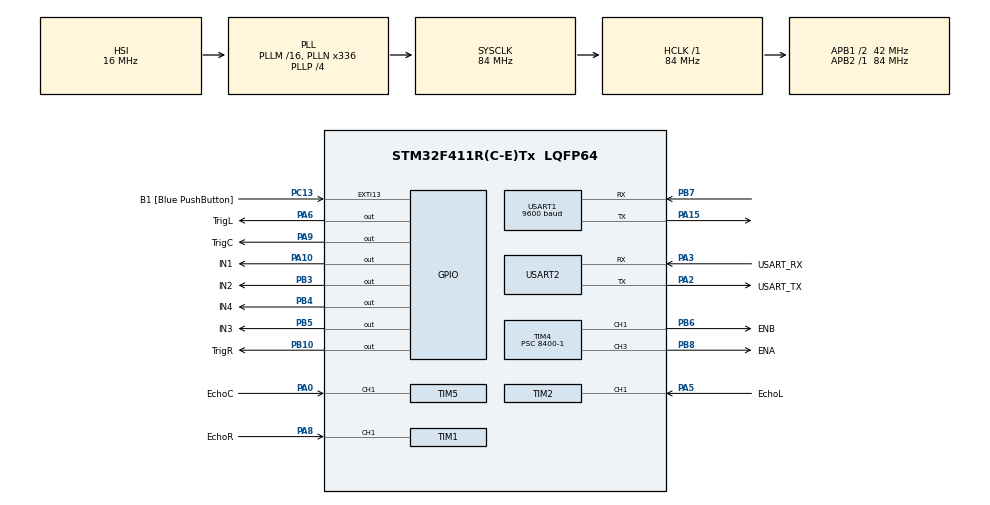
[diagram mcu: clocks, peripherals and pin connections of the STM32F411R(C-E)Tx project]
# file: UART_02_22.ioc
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FREERTOS.Tasks01=changeMode,24,128,changeModefunc,Default,NULL,Dynamic,NULL,NULL;trigUltrasonic,8,128,trigUltrasonicfunc,Default,NULL,Dynamic,NULL,NULL
FREERTOS.configUSE_NEWLIB_REENTRANT=1
Mcu.Family=STM32F4
Mcu.Name=STM32F411R(C-E)Tx
Mcu.Package=LQFP64
NVIC.PriorityGroup=NVIC_PRIORITYGROUP_4
NVIC.TIM1_BRK_TIM9_IRQn=true\:15\:0\:false\:false\:true\:false\:false\:true\:true
NVIC.TIM1_CC_IRQn=true\:5\:0\:false\:false\:true\:true\:true\:true\:true
NVIC.TIM2_IRQn=true\:5\:0\:false\:false\:true\:true\:true\:true\:true
NVIC.TIM5_IRQn=true\:5\:0\:false\:false\:true\:true\:true\:true\:true
NVIC.TimeBase=TIM1_BRK_TIM9_IRQn
NVIC.TimeBaseIP=TIM9
NVIC.USART1_IRQn=true\:5\:0\:false\:false\:true\:true\:true\:true\:true
NVIC.USART2_IRQn=true\:5\:0\:false\:false\:true\:true\:true\:true\:true
PA0-WKUP.GPIO_Label=EchoC
PA0-WKUP.Signal=S_TIM5_CH1
PA10.GPIO_Label=IN1
PA10.Signal=GPIO_Output
PA13.GPIO_Label=TMS
PA13.Mode=Serial_Wire
PA13.Signal=SYS_JTMS-SWDIO
PA14.GPIO_Label=TCK
PA14.Mode=Serial_Wire
PA14.Signal=SYS_JTCK-SWCLK
PA15.Mode=Asynchronous
PA15.Signal=USART1_TX
PA2.GPIO_Label=USART_TX
PA2.Mode=Asynchronous
PA2.Signal=USART2_TX
PA3.GPIO_Label=USART_RX
PA3.Mode=Asynchronous
PA3.Signal=USART2_RX
PA5.GPIO_Label=EchoL
PA5.Signal=S_TIM2_CH1_ETR
PA6.GPIO_Label=TrigL
PA6.Signal=GPIO_Output
PA8.GPIO_Label=EchoR
PA8.Signal=S_TIM1_CH1
PA9.GPIO_Label=TrigC
PA9.Signal=GPIO_Output
PB10.GPIO_Label=TrigR
PB10.Signal=GPIO_Output
PB3.GPIO_Label=IN2
PB3.Signal=GPIO_Output
PB4.GPIO_Label=IN4
PB4.Signal=GPIO_Output
PB5.GPIO_Label=IN3
PB5.Signal=GPIO_Output
PB6.GPIO_Label=ENB
PB6.Signal=S_TIM4_CH1
PB7.Mode=Asynchronous
PB7.Signal=USART1_RX
PB8.GPIO_Label=ENA
PB8.Signal=S_TIM4_CH3
PC13-ANTI_TAMP.GPIO_Label=B1 [Blue PushButton]
PC13-ANTI_TAMP.GPIO_ModeDefaultEXTI=GPIO_MODE_IT_FALLING
PC13-ANTI_TAMP.Signal=GPXTI13
PC14-OSC32_IN.Mode=LSE-External-Oscillator
PC14-OSC32_IN.Signal=RCC_OSC32_IN
PC15-OSC32_OUT.Mode=LSE-External-Oscillator
PC15-OSC32_OUT.Signal=RCC_OSC32_OUT
PH0\ -\ OSC_IN.Mode=HSE-External-Clock-Source
PH0\ -\ OSC_IN.Signal=RCC_OSC_IN
PH1\ -\ OSC_OUT.Mode=HSE-External-Clock-Source
PH1\ -\ OSC_OUT.Signal=RCC_OSC_OUT
ProjectManager.HeapSize=0x200
ProjectManager.StackSize=0x400
ProjectManager.TargetToolchain=STM32CubeIDE
RCC.48MHZClocksFreq_Value=84000000
RCC.AHBFreq_Value=84000000
RCC.APB1CLKDivider=RCC_HCLK_DIV2
RCC.APB1Freq_Value=42000000
RCC.APB1TimFreq_Value=84000000
RCC.APB2Freq_Value=84000000
RCC.APB2TimFreq_Value=84000000
RCC.CortexFreq_Value=84000000
RCC.FLatency-AdvancedSettings=FLASH_LATENCY_2
RCC.HCLKFreq_Value=84000000
RCC.HSE_VALUE=8000000
RCC.HSI_VALUE=16000000
RCC.PLLN=336
RCC.PLLP=RCC_PLLP_DIV4
RCC.SYSCLKFreq_VALUE=84000000
RCC.SYSCLKSource=RCC_SYSCLKSOURCE_PLLCLK
RCC.VCOOutputFreq_Value=336000000
SH.S_TIM1_CH1.0=TIM1_CH1,Input_Capture1_from_TI1
SH.S_TIM2_CH1_ETR.0=TIM2_CH1,Input_Capture1_from_TI1
SH.S_TIM4_CH1.0=TIM4_CH1,PWM Generation1 CH1
SH.S_TIM4_CH3.0=TIM4_CH3,PWM Generation3 CH3
SH.S_TIM5_CH1.0=TIM5_CH1,Input_Capture1_from_TI1
TIM1.Channel-Input_Capture1_from_TI1=TIM_CHANNEL_1
TIM1.ICFilter_CH1=15
TIM1.Period=0xffff-1
TIM1.Prescaler=84-1
TIM2.Channel-Input_Capture1_from_TI1=TIM_CHANNEL_1
TIM2.ICFilter_CH1=15
TIM2.Period=0xffff-1
TIM2.Prescaler=84-1
TIM4.Channel-PWM\ Generation1\ CH1=TIM_CHANNEL_1
TIM4.Channel-PWM\ Generation3\ CH3=TIM_CHANNEL_3
TIM4.Period=1000-1
TIM4.Prescaler=8400-1
TIM5.Channel-Input_Capture1_from_TI1=TIM_CHANNEL_1
TIM5.ICFilter_CH1=15
TIM5.Period=0xffff-1
TIM5.Prescaler=84-1
USART1.BaudRate=9600
USART1.VirtualMode=VM_ASYNC
USART2.VirtualMode=VM_ASYNC
VP_FREERTOS_VS_CMSIS_V2.Mode=CMSIS_V2
VP_SYS_VS_tim9.Mode=TIM9
VP_TIM1_VS_ClockSourceINT.Mode=Internal
board=NUCLEO-F411RE

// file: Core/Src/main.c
/* USER CODE BEGIN Header */
/**
  ******************************************************************************
  * @file           : main.c
  * @brief          : Main program body
  ******************************************************************************
  * @attention
  *
  * Copyright (c) 2024 STMicroelectronics.
  * All rights reserved.
  *
  * This software is licensed under terms that can be found in the LICENSE file
  * in the root directory of this software component.
  * If no LICENSE file comes with this software, it is provided AS-IS.
  *
  ******************************************************************************
  */
/* USER CODE END Header */
#include "main.h"
#include "cmsis_os.h"
#include "tim.h"
#include "usart.h"
#include "gpio.h"

/* USER CODE BEGIN Includes */
#include <string.h>

/* USER CODE END Includes */

/* USER CODE BEGIN PD */

#define BT
#define RX_BUF_SIZE	100

/* USER CODE END PD */

/* USER CODE BEGIN PV */

uint8_t rx_Data[1];
uint8_t state = 0;
uint8_t flag = 0;
int PWM = 300;

#define ARRAYNUM 5
//int readings_front[ARRAYNUM];      // the readings_front from the analog input
//int idx_front = 0;              // the index of the current reading
//int total_front = 0;                  // the running total_front
//int average_front = 0;

int readings_left[ARRAYNUM];      // the readings from the analog input
int idx_left = 0;              // the index of the current reading
int total_left = 0;                  // the running total
int average_left = 0;

int readings_right[ARRAYNUM];      // the readings from the analog input
int idx_right = 0;              // the index of the current reading
int total_right = 0;                  // the running total
int average_right = 0;

//volatile uint32_t INC_Value1 = 0;
//volatile uint32_t INC_Value2 = 0;
//volatile uint32_t echoTime_front = 0;
//volatile uint8_t captureFlag1 = 0;
//volatile uint32_t distance_front = 0;

volatile uint32_t INC_Value3 = 0;
volatile uint32_t INC_Value4 = 0;
volatile uint32_t echoTime_left = 0;
volatile uint8_t captureFlag2 = 0;
volatile uint32_t distance_left = 0;

volatile uint32_t INC_Value5 = 0;
volatile uint32_t INC_Value6 = 0;
volatile uint32_t echoTime_right = 0;
volatile uint8_t captureFlag3 = 0;
volatile uint32_t distance_right = 0;
//////////////////////////////////////////////////////// 코드 추�?1
/* USER CODE END PV */

void SystemClock_Config(void);
void MX_FREERTOS_Init(void);
/* USER CODE BEGIN PFP */

void delay_us(uint16_t us)
{
	__HAL_TIM_SET_COUNTER(&htim1, 0);

	while((__HAL_TIM_GET_COUNTER(&htim1)) < us);
}

void HAL_TIM_IC_CaptureCallback(TIM_HandleTypeDef *htim)
{
//	if(htim->Instance == TIM5)
//	{
//		if(captureFlag1 == 0)	// first value is not capture
//		{
//			INC_Value1 = HAL_TIM_ReadCapturedValue(htim, TIM_CHANNEL_1);	// read first value
//			captureFlag1 = 1;	// first captured as true
//
//			// change polarity rising edge to falling edge
//			__HAL_TIM_SET_CAPTUREPOLARITY(htim, TIM_CHANNEL_1, TIM_INPUTCHANNELPOLARITY_FALLING);
//		}
//		else if(captureFlag1 == 1)	// if first value already captured
//		{
//			INC_Value2 = HAL_TIM_ReadCapturedValue(htim, TIM_CHANNEL_1);
//
//			if(INC_Value2 > INC_Value1)
//			{
//				echoTime_front = INC_Value2 - INC_Value1;
//			}
//			else if(INC_Value2 < INC_Value1)
//			{
//				echoTime_front = (0xffff - INC_Value1) + INC_Value2;
//			}
//
//			distance_front = echoTime_front / 58;
//			captureFlag1 = 0;
//
//			 total_front = total_front - readings_front[idx_front];
//				  // read from the sensor:
//				  readings_front[idx_front] = distance_front;
//				  // add the reading to the total_front:
//				  total_front = total_front + readings_front[idx_front];
//				  // advance to the next position in the array:
//				  idx_front = idx_front + 1;
//
//				  // if we're at the end of the array...
//				  if (idx_front >= ARRAYNUM) {
//					  // ...wrap around to the beginning:
//					  idx_front = 0;
//				  }
//				  // calculate the average_front:
//				  average_front = total_front / ARRAYNUM;
//
//			__HAL_TIM_SET_CAPTUREPOLARITY(htim, TIM_CHANNEL_1, TIM_INPUTCHANNELPOLARITY_RISING);
//			__HAL_TIM_DISABLE_IT(&htim5, TIM_IT_CC1);
//		}
//	}
	if(htim->Instance == TIM2)
	{
		if(captureFlag2 == 0)	// first value is not capture
		{
			INC_Value3 = HAL_TIM_ReadCapturedValue(htim, TIM_CHANNEL_1);	// read first value
			captureFlag2 = 1;	// first captured as true

			// change polarity rising edge to falling edge
			__HAL_TIM_SET_CAPTUREPOLARITY(htim, TIM_CHANNEL_1, TIM_INPUTCHANNELPOLARITY_FALLING);
		}
		else if(captureFlag2 == 1)	// if first value already captured
		{
			INC_Value4 = HAL_TIM_ReadCapturedValue(htim, TIM_CHANNEL_1);

			if(INC_Value4  > INC_Value3)
			{
				echoTime_left = INC_Value4 - INC_Value3;
			}
			else if(INC_Value4 < INC_Value3)
			{
				echoTime_left = (0xffff - INC_Value3) + INC_Value4;
			}

			distance_left = echoTime_left / 58;
			captureFlag2 = 0;

			total_left = total_left - readings_left[idx_left];
				  // read from the sensor:
				  readings_left[idx_left] = distance_left;
				  // add the reading to the total:
				  total_left = total_left + readings_left[idx_left];
				  // advance to the next position in the array:
				  idx_left = idx_left + 1;

				  // if we're at the end of the array...
				  if (idx_left >= ARRAYNUM) {
					  // ...wrap around to the beginning:
					  idx_left = 0;
				  }
				  // calculate the average:
				  average_left = total_left / ARRAYNUM;

			__HAL_TIM_SET_CAPTUREPOLARITY(htim, TIM_CHANNEL_1, TIM_INPUTCHANNELPOLARITY_RISING);
			__HAL_TIM_DISABLE_IT(&htim2, TIM_IT_CC1);
		}
	}
	else if(htim->Instance == TIM1)
	{
		if(captureFlag3 == 0)	// first value is not capture
		{
			INC_Value5 = HAL_TIM_ReadCapturedValue(htim, TIM_CHANNEL_1);	// read first value
			captureFlag3 = 1;	// first captured as true

			// change polarity rising edge to falling edge
			__HAL_TIM_SET_CAPTUREPOLARITY(htim, TIM_CHANNEL_1, TIM_INPUTCHANNELPOLARITY_FALLING);
		}
		else if(captureFlag3 == 1)	// if first value already captured
		{
			INC_Value6 = HAL_TIM_ReadCapturedValue(htim, TIM_CHANNEL_1);

			if(INC_Value6 > INC_Value5)
			{
				echoTime_right = INC_Value6 - INC_Value5;
			}
			else if(INC_Value6 < INC_Value5)
			{
				echoTime_right = (0xffff - INC_Value5) + INC_Value6;
			}

			distance_right = echoTime_right / 58;
			captureFlag3 = 0;

			 total_right = total_right - readings_right[idx_right];
				  // read from the sensor:
				  readings_right[idx_right] = distance_right;
				  // add the reading to the total:
				  total_right = total_right + readings_right[idx_right];
				  // advance to the next position in the array:
				  idx_right = idx_right + 1;

				  // if we're at the end of the array...
				  if (idx_right >= ARRAYNUM) {
					  // ...wrap around to the beginning:
					  idx_right = 0;
				  }
				  // calculate the average:
				  average_right = total_right / ARRAYNUM;

			__HAL_TIM_SET_CAPTUREPOLARITY(htim, TIM_CHANNEL_1, TIM_INPUTCHANNELPOLARITY_RISING);
			__HAL_TIM_DISABLE_IT(&htim1, TIM_IT_CC1);
		}
	}
//	if(average_front < 10)
//	{
//		stop();
//		return;
//	}
	if(average_left < 30){
		right();
		return;
	}
	if(average_right < 30){
		left();
		return;
	}
	go();
}

void Trig1(void)
{
	HAL_GPIO_WritePin(TrigL_GPIO_Port, TrigL_Pin, 1);	// Trig Pin High
	delay_us(10);								// delay 10us
	HAL_GPIO_WritePin(TrigL_GPIO_Port, TrigL_Pin, 0);	// Trig Pin Low

	__HAL_TIM_ENABLE_IT(&htim2, TIM_IT_CC1);	// SET Timer Enable
}

//void Trig2(void)
//{
//	HAL_GPIO_WritePin(TrigC_GPIO_Port, TrigC_Pin, 1);	// Trig Pin High
//	delay_us(10);								// delay 10us
//	HAL_GPIO_WritePin(TrigC_GPIO_Port, TrigC_Pin, 0);	// Trig Pin Low
//
//	__HAL_TIM_ENABLE_IT(&htim5, TIM_IT_CC1);	// SET Timer Enable
//}

void Trig3(void)
{
	HAL_GPIO_WritePin(TrigR_GPIO_Port, TrigR_Pin, 1);	// Trig Pin High
	delay_us(10);								// delay 10us
	HAL_GPIO_WritePin(TrigR_GPIO_Port, TrigR_Pin, 0);	// Trig Pin Low

	__HAL_TIM_ENABLE_IT(&htim1, TIM_IT_CC1);	// SET Timer Enable
}

void go()		// ?���??????????? ?��?��
{
	HAL_GPIO_WritePin(IN1_GPIO_Port, IN1_Pin, 1);	// Right ?��?��?��
	HAL_GPIO_WritePin(IN2_GPIO_Port, IN2_Pin, 0);
	HAL_GPIO_WritePin(IN3_GPIO_Port, IN3_Pin, 1);	// Left ?��?��?��
	HAL_GPIO_WritePin(IN4_GPIO_Port, IN4_Pin, 0);
	//printf("This is Forward Function\r\n");	myDelay(500);
}

void back()		// ?���?????????? ?��?��
{
	HAL_GPIO_WritePin(IN1_GPIO_Port, IN1_Pin, 0);	// Right ?��?��?��
	HAL_GPIO_WritePin(IN2_GPIO_Port, IN2_Pin, 1);
	HAL_GPIO_WritePin(IN3_GPIO_Port, IN3_Pin, 0);	// Left ?��?��?��
	HAL_GPIO_WritePin(IN4_GPIO_Port, IN4_Pin, 1);
	//printf("This is Backward Function\r\n");	myDelay(500);
} // end of Backward

void stop()
{
	HAL_GPIO_WritePin(IN1_GPIO_Port, IN1_Pin, 0);	// Right ?��?��?��
	HAL_GPIO_WritePin(IN2_GPIO_Port, IN2_Pin, 0);
	HAL_GPIO_WritePin(IN3_GPIO_Port, IN3_Pin, 0);	// Left ?��?��?��
	HAL_GPIO_WritePin(IN4_GPIO_Port, IN4_Pin, 0);
} // end of Stop

void right()		// ?��?��?�� ?��?��		// Left ?��?��?��, Right ?��?��?��
{
	HAL_GPIO_WritePin(IN1_GPIO_Port, IN1_Pin, 1);	// Right ?��?��?��
	HAL_GPIO_WritePin(IN2_GPIO_Port, IN2_Pin, 0);
	HAL_GPIO_WritePin(IN3_GPIO_Port, IN3_Pin, 0);	// Left ?��?��?��
	HAL_GPIO_WritePin(IN4_GPIO_Port, IN4_Pin, 1);
} // end of Rotate_R

void left()		// 좌회?�� ?��?��		// Left ?��?��?��, Right ?��?��?��
{
	HAL_GPIO_WritePin(IN1_GPIO_Port, IN1_Pin, 0);	// Right ?��?��?��
	HAL_GPIO_WritePin(IN2_GPIO_Port, IN2_Pin, 1);
	HAL_GPIO_WritePin(IN3_GPIO_Port, IN3_Pin, 1);	// Left ?��?��?��
	HAL_GPIO_WritePin(IN4_GPIO_Port, IN4_Pin, 0);
} // end of Rotate_L

///////////////////////////////////////////////////코드 추�?2
//
//
void left_back()
{
	HAL_GPIO_WritePin(IN1_GPIO_Port, IN1_Pin, 0);
	HAL_GPIO_WritePin(IN2_GPIO_Port, IN2_Pin, 1);
	HAL_GPIO_WritePin(IN3_GPIO_Port, IN3_Pin, 0);
	HAL_GPIO_WritePin(IN4_GPIO_Port, IN4_Pin, 1);
}

void right_back()
{
	HAL_GPIO_WritePin(IN1_GPIO_Port, IN1_Pin, 0);
	HAL_GPIO_WritePin(IN2_GPIO_Port, IN2_Pin, 1);
	HAL_GPIO_WritePin(IN3_GPIO_Port, IN3_Pin, 0);
	HAL_GPIO_WritePin(IN4_GPIO_Port, IN4_Pin, 1);
}

/////////////////////////////////////////////////코드 추�?2

void bt_motor()
{

	if(rx_Data[0] == 'H')
	{
		PWM = 600;
	}
	else if(rx_Data[0] == 'M')
	{
		PWM = 400;
	}
	else if(rx_Data[0] == 'L')
	{
		PWM = 250;
	}
	else if(rx_Data[0] == 'f')
	{
	  state = 'f';
	}
	else if(rx_Data[0] == 's')
	{
	  state = 's';
	}
  else if(rx_Data[0] == 'l')
	{
	  state = 'l';

	}
  else if(rx_Data[0] == 'r')
	{
	  state = 'r';

	}
  else if(rx_Data[0] == 'b')
	{
	  state = 'b';
	}

	if(state == 'f'){
		go();
		htim4.Instance->CCR3 = PWM;
		htim4.Instance->CCR1 = PWM;
	}
	else if(state == 's')
	{
		stop();
		htim4.Instance->CCR3 = PWM;
		htim4.Instance->CCR1 = PWM;
	}
	else if(state == 'l'){
		left();
		htim4.Instance->CCR3 = PWM;
		htim4.Instance->CCR1 = PWM;
	}
	else if(state == 'r'){
		right();
		htim4.Instance->CCR3 = PWM;
		htim4.Instance->CCR1 = PWM;
	}
	else if(state == 'b')
	{
		back();
		htim4.Instance->CCR3 = PWM;
		htim4.Instance->CCR1 = PWM;
	}
}

void HAL_UART_RxCpltCallback(UART_HandleTypeDef *huart)
{
	if(huart->Instance == huart1.Instance)
	{
		HAL_UART_Receive_IT(&huart1, rx_Data, sizeof(rx_Data));
	}

}

/* USER CODE END PFP */

int main(void)
{

  /* MCU Configuration--------------------------------------------------------*/

  /* Reset of all peripherals, Initializes the Flash interface and the Systick. */
  HAL_Init();

  /* Configure the system clock */
  SystemClock_Config();

  /* Initialize all configured peripherals */
  MX_GPIO_Init();
  MX_USART2_UART_Init();
  MX_USART1_UART_Init();
  MX_TIM4_Init();
  MX_TIM1_Init();
  MX_TIM2_Init();
  MX_TIM5_Init();
  /* USER CODE BEGIN 2 */
  HAL_TIM_PWM_Start(&htim4, TIM_CHANNEL_3);
  HAL_TIM_PWM_Start(&htim4, TIM_CHANNEL_1);
  HAL_TIM_Base_Start(&htim1); // delay_us
  HAL_TIM_IC_Start(&htim2, TIM_CHANNEL_1);
//  HAL_TIM_IC_Start(&htim5, TIM_CHANNEL_1);
  HAL_TIM_IC_Start(&htim1, TIM_CHANNEL_1);
  htim4.Instance->CCR1 = PWM;
  htim4.Instance->CCR3 = PWM;

//
  /* USER CODE END 2 */

  /* Init scheduler */
  osKernelInitialize();

  /* Call init function for freertos objects (in freertos.c) */
  MX_FREERTOS_Init();

  /* Start scheduler */
  osKernelStart();

  /* We should never get here as control is now taken by the scheduler */
  /* Infinite loop */
  /* USER CODE BEGIN WHILE */
  while (1)
  {
//	  Forward();

//	  printf("%c\r\n", rx_Data[0]);
///////////////////////////////////////////////////코드 추�?3
////

//	  rx_Data[0] = 0;

///////////////////////////////////////////////////코드 추�?3

    /* USER CODE END WHILE */

  }
}

void SystemClock_Config(void)
{
  RCC_OscInitTypeDef RCC_OscInitStruct = {0};
  RCC_ClkInitTypeDef RCC_ClkInitStruct = {0};

  /** Configure the main internal regulator output voltage
  */
  __HAL_RCC_PWR_CLK_ENABLE();
  __HAL_PWR_VOLTAGESCALING_CONFIG(PWR_REGULATOR_VOLTAGE_SCALE1);

  /** Initializes the RCC Oscillators according to the specified parameters
  * in the RCC_OscInitTypeDef structure.
  */
  RCC_OscInitStruct.OscillatorType = RCC_OSCILLATORTYPE_HSI;
  RCC_OscInitStruct.HSIState = RCC_HSI_ON;
  RCC_OscInitStruct.HSICalibrationValue = RCC_HSICALIBRATION_DEFAULT;
  RCC_OscInitStruct.PLL.PLLState = RCC_PLL_ON;
  RCC_OscInitStruct.PLL.PLLSource = RCC_PLLSOURCE_HSI;
  RCC_OscInitStruct.PLL.PLLM = 16;
  RCC_OscInitStruct.PLL.PLLN = 336;
  RCC_OscInitStruct.PLL.PLLP = RCC_PLLP_DIV4;
  RCC_OscInitStruct.PLL.PLLQ = 4;
  if (HAL_RCC_OscConfig(&RCC_OscInitStruct) != HAL_OK)
  {
    Error_Handler();
  }

  /** Initializes the CPU, AHB and APB buses clocks
  */
  RCC_ClkInitStruct.ClockType = RCC_CLOCKTYPE_HCLK|RCC_CLOCKTYPE_SYSCLK
                              |RCC_CLOCKTYPE_PCLK1|RCC_CLOCKTYPE_PCLK2;
  RCC_ClkInitStruct.SYSCLKSource = RCC_SYSCLKSOURCE_PLLCLK;
  RCC_ClkInitStruct.AHBCLKDivider = RCC_SYSCLK_DIV1;
  RCC_ClkInitStruct.APB1CLKDivider = RCC_HCLK_DIV2;
  RCC_ClkInitStruct.APB2CLKDivider = RCC_HCLK_DIV1;

  if (HAL_RCC_ClockConfig(&RCC_ClkInitStruct, FLASH_LATENCY_2) != HAL_OK)
  {
    Error_Handler();
  }
}

void HAL_TIM_PeriodElapsedCallback(TIM_HandleTypeDef *htim)
{
  if (htim->Instance == TIM9) {
    HAL_IncTick();
  }
}

void Error_Handler(void)
{
  __disable_irq();
  while (1)
  {
  }
}

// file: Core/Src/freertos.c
/* USER CODE BEGIN Header */
/**
  ******************************************************************************
  * File Name          : freertos.c
  * Description        : Code for freertos applications
  ******************************************************************************
  * @attention
  *
  * Copyright (c) 2024 STMicroelectronics.
  * All rights reserved.
  *
  * This software is licensed under terms that can be found in the LICENSE file
  * in the root directory of this software component.
  * If no LICENSE file comes with this software, it is provided AS-IS.
  *
  ******************************************************************************
  */
/* USER CODE END Header */

#include "FreeRTOS.h"
#include "task.h"
#include "main.h"
#include "cmsis_os.h"

/* USER CODE BEGIN Includes */
#include "usart.h"
/* USER CODE END Includes */

/* USER CODE BEGIN PTD */
extern uint8_t rx_Data[1];
extern uint8_t flag;
extern uint32_t echoTime_front, echoTime_left, echoTime_right;
extern uint32_t distance_front, distance_left, distance_right;
/* USER CODE END PTD */

/* Definitions for changeMode */
osThreadId_t changeModeHandle;
const osThreadAttr_t changeMode_attributes = {
  .name = "changeMode",
  .stack_size = 128 * 4,
  .priority = (osPriority_t) osPriorityNormal,
};
/* Definitions for trigUltrasonic */
osThreadId_t trigUltrasonicHandle;
const osThreadAttr_t trigUltrasonic_attributes = {
  .name = "trigUltrasonic",
  .stack_size = 128 * 4,
  .priority = (osPriority_t) osPriorityLow,
};

void changeModefunc(void *argument);
void trigUltrasonicfunc(void *argument);

void MX_FREERTOS_Init(void); /* (MISRA C 2004 rule 8.1) */

void MX_FREERTOS_Init(void) {

  /* Create the thread(s) */
  /* creation of changeMode */
  changeModeHandle = osThreadNew(changeModefunc, NULL, &changeMode_attributes);

  /* creation of trigUltrasonic */
  trigUltrasonicHandle = osThreadNew(trigUltrasonicfunc, NULL, &trigUltrasonic_attributes);

}

void changeModefunc(void *argument)
{
  /* USER CODE BEGIN changeModefunc */
  /* Infinite loop */
  for(;;)
  {
	  HAL_UART_Receive_IT(&huart1, rx_Data, sizeof(rx_Data));
	  	 	 	  if(rx_Data[0] == 'a') flag = !flag;
	  	 	 	  if(!flag) bt_motor();
    osDelay(1);
  }
  /* USER CODE END changeModefunc */
}

void trigUltrasonicfunc(void *argument)
{
  /* USER CODE BEGIN trigUltrasonicfunc */
  /* Infinite loop */
  for(;;)
  {
	  if(flag)
	  {
		  Trig1();
		  osDelay(2);
		  Trig3();
		  osDelay(10);
	  }
  }
  /* USER CODE END trigUltrasonicfunc */
}
